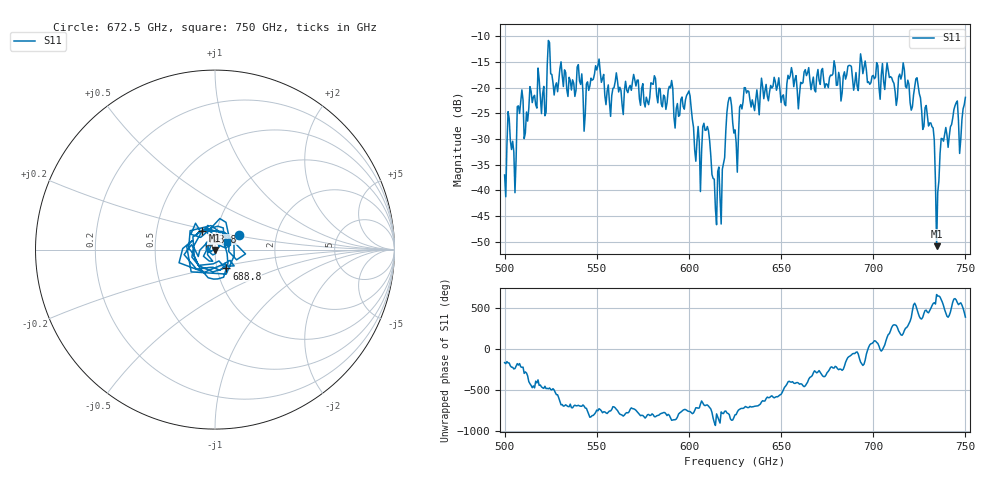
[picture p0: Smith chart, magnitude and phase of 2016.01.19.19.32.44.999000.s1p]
!Created with skrf (http://scikit-rf.org).
# GHz S RI R 50.0
!freq ReS11 ImS11
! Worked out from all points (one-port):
!   401 points, 500 GHz to 750 GHz, reference 50 ohm
!   lowest |S11| = -50.9 dB at 734.4 GHz (marker M1), VSWR 1.01, Z = 50.2 - j0.224 ohm
!   |S11| at or under -10 dB: start of sweep to end of sweep
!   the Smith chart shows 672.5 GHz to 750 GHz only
!   S11 on the Smith chart (normalised r, x): 672.5 GHz: 1.28, +0.21; 688.8 GHz: 1.11, -0.24; 723.8 GHz: 0.85, +0.17; 750 GHz: 1.14, +0.10
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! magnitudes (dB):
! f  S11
! 500 GHz  -37.0
! 502.5 GHz  -26.1
! 505 GHz  -32.5
! 508.1 GHz  -25.0
! 511.9 GHz  -24.8
! 521.2 GHz  -19.8
! 524.4 GHz  -11.3
! 531.2 GHz  -17.7
! 562.5 GHz  -19.9
! 590 GHz  -20.0
! 593.8 GHz  -23.1
! 600 GHz  -20.7
! 605 GHz  -27.6
! 609.4 GHz  -28.3
! 616.2 GHz  -35.5
! 621.9 GHz  -22.0
! 625 GHz  -28.2
! 631.2 GHz  -21.1
! 656.2 GHz  -17.3
! 672.5 GHz  -16.3
! 687.5 GHz  -15.7
! 688.8 GHz  -18.2
! 718.8 GHz  -18.6
! 723.8 GHz  -18.1
! 731.9 GHz  -27.6
! 734.4 GHz  -50.9
! 738.1 GHz  -30.4
! 750 GHz  -21.9
